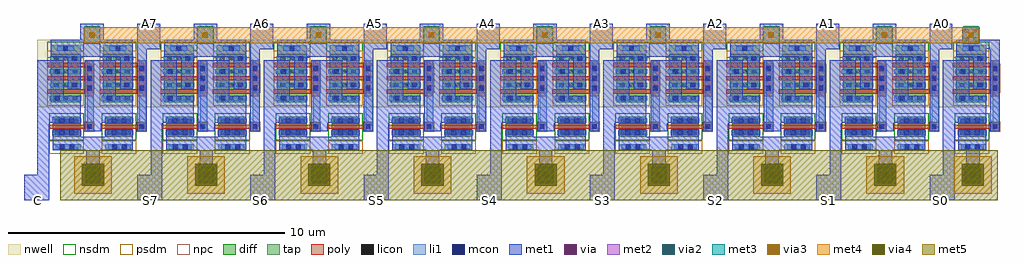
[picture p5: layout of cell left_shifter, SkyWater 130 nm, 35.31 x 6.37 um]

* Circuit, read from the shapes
.subckt left_shifter A0 A1 A2 A3 A4 A5 A6 A7 C S0 S1 S2 S3 S4 S5 S6 S7 VDD VSS
XM1 C buffer_7/inv_0/A VSS VSS sky130_fd_pr__nfet_01v8 w=1 l=0.15
XM2 buffer_7/inv_0/A A7 VSS VSS sky130_fd_pr__nfet_01v8 w=1 l=0.15
XM3 S7 buffer_6/inv_0/A VSS VSS sky130_fd_pr__nfet_01v8 w=1 l=0.15
XM4 buffer_6/inv_0/A A6 VSS VSS sky130_fd_pr__nfet_01v8 w=1 l=0.15
XM5 S6 buffer_5/inv_0/A VSS VSS sky130_fd_pr__nfet_01v8 w=1 l=0.15
XM6 buffer_5/inv_0/A A5 VSS VSS sky130_fd_pr__nfet_01v8 w=1 l=0.15
XM7 S5 buffer_4/inv_0/A VSS VSS sky130_fd_pr__nfet_01v8 w=1 l=0.15
XM8 buffer_4/inv_0/A A4 VSS VSS sky130_fd_pr__nfet_01v8 w=1 l=0.15
XM9 S4 buffer_3/inv_0/A VSS VSS sky130_fd_pr__nfet_01v8 w=1 l=0.15
XM10 buffer_3/inv_0/A A3 VSS VSS sky130_fd_pr__nfet_01v8 w=1 l=0.15
XM11 S3 buffer_8/inv_0/A VSS VSS sky130_fd_pr__nfet_01v8 w=1 l=0.15
XM12 buffer_8/inv_0/A A2 VSS VSS sky130_fd_pr__nfet_01v8 w=1 l=0.15
XM13 S2 buffer_1/inv_0/A VSS VSS sky130_fd_pr__nfet_01v8 w=1 l=0.15
XM14 buffer_1/inv_0/A A1 VSS VSS sky130_fd_pr__nfet_01v8 w=1 l=0.15
XM15 S1 buffer_2/inv_0/A VSS VSS sky130_fd_pr__nfet_01v8 w=1 l=0.15
XM16 buffer_2/inv_0/A A0 VSS VSS sky130_fd_pr__nfet_01v8 w=1 l=0.15
XM17 S0 VDD VSS VSS sky130_fd_pr__nfet_01v8 w=1 l=0.15
XM18 VDD buffer_7/inv_0/A C VDD sky130_fd_pr__pfet_01v8 w=1.07 l=0.15 m=3
XM19 VDD A7 buffer_7/inv_0/A VDD sky130_fd_pr__pfet_01v8 w=1.07 l=0.15 m=3
XM20 VDD buffer_6/inv_0/A S7 VDD sky130_fd_pr__pfet_01v8 w=1.07 l=0.15 m=3
XM21 VDD A6 buffer_6/inv_0/A VDD sky130_fd_pr__pfet_01v8 w=1.07 l=0.15 m=3
XM22 VDD buffer_5/inv_0/A S6 VDD sky130_fd_pr__pfet_01v8 w=1.07 l=0.15 m=3
XM23 VDD A5 buffer_5/inv_0/A VDD sky130_fd_pr__pfet_01v8 w=1.07 l=0.15 m=3
XM24 VDD buffer_4/inv_0/A S5 VDD sky130_fd_pr__pfet_01v8 w=1.07 l=0.15 m=3
XM25 VDD A4 buffer_4/inv_0/A VDD sky130_fd_pr__pfet_01v8 w=1.07 l=0.15 m=3
XM26 VDD buffer_3/inv_0/A S4 VDD sky130_fd_pr__pfet_01v8 w=1.07 l=0.15 m=3
XM27 VDD A3 buffer_3/inv_0/A VDD sky130_fd_pr__pfet_01v8 w=1.07 l=0.15 m=3
XM28 VDD buffer_8/inv_0/A S3 VDD sky130_fd_pr__pfet_01v8 w=1.07 l=0.15 m=3
XM29 VDD A2 buffer_8/inv_0/A VDD sky130_fd_pr__pfet_01v8 w=1.07 l=0.15 m=3
XM30 VDD buffer_1/inv_0/A S2 VDD sky130_fd_pr__pfet_01v8 w=1.07 l=0.15 m=3
XM31 VDD A1 buffer_1/inv_0/A VDD sky130_fd_pr__pfet_01v8 w=1.07 l=0.15 m=3
XM32 VDD buffer_2/inv_0/A S1 VDD sky130_fd_pr__pfet_01v8 w=1.07 l=0.15 m=3
XM33 VDD A0 buffer_2/inv_0/A VDD sky130_fd_pr__pfet_01v8 w=1.07 l=0.15 m=3
XM34 VDD VDD S0 VDD sky130_fd_pr__pfet_01v8 w=1.07 l=0.15 m=3
.ends

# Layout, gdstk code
from math import pi, radians
import gdstk
lib = gdstk.Library(unit=1e-6, precision=1e-09)
def R(c, l, rs):  # rectangles x0, y0, x1, y1
    for r in rs: c.add(gdstk.rectangle(r[:2], r[2:], *l))
def A(c, l, x, y, w, h, nx, ny, dx, dy):  # array of equal rectangles
    R(c, l, [(x+i*dx, y+j*dy, x+i*dx+w, y+j*dy+h) for i in range(nx) for j in range(ny)])
nwell = (64, 20)
diff = (65, 20)
tap = (65, 44)
poly = (66, 20)
licon = (66, 44)
li1 = (67, 20)
mcon = (67, 44)
met1 = (68, 20)
via = (68, 44)
met2 = (69, 20)
via2 = (69, 44)
met3 = (70, 20)
via3 = (70, 44)
met4 = (71, 20)
via4 = (71, 44)
met5 = (72, 20)
nsdm = (93, 44)
psdm = (94, 20)
npc = (95, 20)

sky130_fd_pr__nfet_01v8_ = lib.new_cell('sky130_fd_pr__nfet_01v8_6H9P4D')
R(sky130_fd_pr__nfet_01v8_, diff, [(-0.365,-0.5,0.365,0.5)])
R(sky130_fd_pr__nfet_01v8_, poly, [(-0.075,-0.63,0.075,0.63)])
A(sky130_fd_pr__nfet_01v8_, licon, -0.305, -0.425, 0.17, 0.17, 1, 3, 0, 0.34)
A(sky130_fd_pr__nfet_01v8_, licon, 0.135, -0.425, 0.17, 0.17, 1, 3, 0, 0.34)
R(sky130_fd_pr__nfet_01v8_, li1, [(-0.305,-0.52,-0.135,0.52), (0.135,-0.52,0.305,0.52)])
R(sky130_fd_pr__nfet_01v8_, mcon, [(-0.305,-0.265,-0.135,-0.095), (0.135,-0.265,0.305,-0.095), (-0.305,0.095,-0.135,0.265), (0.135,0.095,0.305,0.265)])
R(sky130_fd_pr__nfet_01v8_, met1, [(-0.335,-0.5,-0.105,0.5), (0.105,-0.5,0.335,0.5)])
R(sky130_fd_pr__nfet_01v8_, nsdm, [(-0.49,-0.625,0.49,0.625)])

efepmos_w107_l15_f3 = lib.new_cell('efepmos_W107-L15-F3')
R(efepmos_w107_l15_f3, nwell, [(-1.045,-1.035,1.045,0.845)])
R(efepmos_w107_l15_f3, diff, [(-0.865,-0.535,0.865,0.535)])
A(efepmos_w107_l15_f3, poly, -0.555, -0.69, 0.15, 1.355, 3, 1, 0.48, 0)
R(efepmos_w107_l15_f3, poly, [(-0.645,-1.02,0.645,-0.69)])
A(efepmos_w107_l15_f3, licon, -0.425, -0.94, 0.17, 0.17, 3, 1, 0.34, 0)
A(efepmos_w107_l15_f3, licon, -0.805, -0.425, 0.17, 0.17, 1, 3, 0, 0.34)
A(efepmos_w107_l15_f3, licon, 0.155, -0.425, 0.17, 0.17, 1, 3, 0, 0.34)
A(efepmos_w107_l15_f3, licon, -0.325, -0.415, 0.17, 0.17, 1, 3, 0, 0.34)
A(efepmos_w107_l15_f3, licon, 0.635, -0.415, 0.17, 0.17, 1, 3, 0, 0.34)
R(efepmos_w107_l15_f3, li1, [(-0.645,-0.94,0.645,-0.77), (-0.805,-0.555,-0.635,0.555), (-0.325,-0.555,-0.155,0.585), (0.155,-0.555,0.325,0.555), (0.635,-0.555,0.805,0.585)])
A(efepmos_w107_l15_f3, mcon, -0.445, -0.94, 0.17, 0.17, 3, 1, 0.36, 0)
R(efepmos_w107_l15_f3, mcon, [(-0.805,-0.395,-0.635,-0.225), (0.155,-0.395,0.325,-0.225), (-0.325,0.215,-0.155,0.385), (0.635,0.215,0.805,0.385)])
R(efepmos_w107_l15_f3, met1, [(-0.645,-1.02,0.645,-0.69), (-1.045,-0.535,0.405,-0.08), (-0.405,0.08,1.045,0.535)])
R(efepmos_w107_l15_f3, psdm, [(-0.99,-0.66,0.99,0.66)])
R(efepmos_w107_l15_f3, npc, [(-0.525,-1.04,0.525,-0.67)])

inv = lib.new_cell('inv')
R(inv, nwell, [(1.88,0,2.06,1.83), (1.63,1.44,1.715,1.45), (1.115,1.45,1.715,1.69), (0.505,1.735,0.52,1.83), (0,1.83,2.06,2.43)])
R(inv, tap, [(0.5,-1.555,1.5,-1.34), (0.5,1.91,1.57,2.24)])
R(inv, poly, [(0.015,-0.87,0.35,-0.78), (0.015,-0.78,0.375,-0.63), (0.015,-0.63,0.35,-0.54)])
R(inv, licon, [(0.73,-1.52,0.9,-1.35), (1.07,-1.52,1.24,-1.35), (0.095,-0.79,0.265,-0.62), (0.955,2.04,1.125,2.21)])
R(inv, li1, [(0.575,-1.52,1.395,-1.35), (0.015,-0.87,0.265,1.695), (0.735,2.04,1.35,2.21)])
R(inv, mcon, [(0.72,-1.52,0.89,-1.35), (1.08,-1.52,1.25,-1.35), (0.095,-0.79,0.265,-0.62), (0.955,2.04,1.125,2.21)])
R(inv, met1, [(0.5,-1.555,1.5,-0.805), (0,-0.875,0.345,0.4), (1.64,-0.875,2.06,-0.57), (0.5,-0.57,2.06,0.41), (0,0.4,0.265,1.69), (1.115,0.41,2.06,1.69), (0.505,1.735,0.52,1.83), (0.5,1.83,1.57,2.43)])
R(inv, nsdm, [(0.375,1.785,1.695,2.365)])
R(inv, psdm, [(0.375,-1.68,1.625,-1.215)])
R(inv, npc, [(-0.005,-0.89,0.365,-0.52)])
inv.add(gdstk.Reference(sky130_fd_pr__nfet_01v8_, (1,-0.705), rotation=3*pi/2))
inv.add(gdstk.Reference(efepmos_w107_l15_f3, (1.035,1.045), rotation=3*pi/2))
inv.add(gdstk.Label('A', (0,0.39), layer=68, texttype=16))
inv.add(gdstk.Label('VSS', (0.99,-1.555), layer=68, texttype=16))
inv.add(gdstk.Label('VDD', (1.05,2.43), layer=68, texttype=16))
inv.add(gdstk.Label('Y', (2.06,0.39), layer=68, texttype=16))

buffer = lib.new_cell('buffer')
R(buffer, nwell, [(2.035,1.25,2.095,3.16), (-0.025,1.64,-0.015,1.67), (3.925,1.725,3.93,1.735), (1.545,3.16,2.595,3.68)])
R(buffer, met1, [(1.675,-1.475,2.16,-0.305), (1.475,-0.305,2.595,0.18), (2.035,0.375,2.095,2.94), (-0.025,1.64,-0.015,1.67), (3.925,1.725,3.93,1.735), (1.545,3.08,2.37,3.16), (1.545,3.16,2.595,3.455), (1.525,3.455,2.595,3.68), (1.525,3.68,2.375,4.26)])
R(buffer, via, [(1.84,-1.28,1.99,-1.13), (1.88,3.785,2.03,3.935)])
R(buffer, met2, [(1.63,-1.445,2.205,-0.96), (1.65,3.6,2.26,4.12)])
R(buffer, via2, [(1.815,-1.305,2.015,-1.105), (1.855,3.76,2.055,3.96)])
R(buffer, met3, [(1.65,-1.5,2.185,-0.905), (1.67,3.545,2.24,4.175)])
R(buffer, via3, [(1.815,-1.305,2.015,-1.105), (1.855,3.76,2.055,3.96)])
R(buffer, met4, [(1.24,-1.88,2.6,-0.52), (1.665,3.57,2.245,4.15)])
R(buffer, via4, [(1.52,-1.6,2.32,-0.8)])
R(buffer, met5, [(0.875,-2.11,3.095,-0.305)])
buffer.add(gdstk.Reference(inv, (1.87,1.25)))
buffer.add(gdstk.Reference(inv, (-0.025,1.25)))
buffer.add(gdstk.Label('A', (-0.025,1.655), layer=68, texttype=16))
buffer.add(gdstk.Label('VSS', (2.165,-0.305), layer=68, texttype=16))
buffer.add(gdstk.Label('VDD', (2.23,3.68), layer=68, texttype=16))
buffer.add(gdstk.Label('Y', (3.93,1.73), layer=68, texttype=16))

left_shifter = lib.new_cell('left_shifter')
R(left_shifter, nwell, [(11.775,2.81,37.64,4.5), (40.44,2.81,42.64,4.5), (11.775,4.5,37.82,5.24), (40.095,4.5,42.64,5.24)])
A(left_shifter, li1, 15.605, 4.5, 0.25, 0.005, 7, 1, 4.095, 0)
A(left_shifter, met1, 7.335, -0.55, 0.905, 0.92, 9, 1, 4.095, 0)
A(left_shifter, met1, 7.82, 0.37, 0.42, 1.565, 8, 1, 4.095, 0)
A(left_shifter, met1, 11.43, 4.5, 0.345, 0.4, 8, 1, 4.095, 0)
A(left_shifter, met1, 11.43, 4.9, 0.83, 0.92, 8, 1, 4.095, 0)
R(left_shifter, met1, [(41.42,0.085,41.905,1.255), (40.58,0.37,41,2.355), (16.355,1.935,16.43,2.24), (42.33,4.455,42.64,4.495), (42.295,4.495,42.64,4.925), (41.825,4.925,42.64,5.13), (41.275,5.13,42.64,5.24), (41.275,5.24,41.915,5.71)])
R(left_shifter, via, [(41.585,0.28,41.735,0.43), (41.36,5.185,41.51,5.335), (41.68,5.185,41.83,5.335), (41.36,5.505,41.51,5.655), (41.68,5.505,41.83,5.655)])
R(left_shifter, met2, [(41.375,0.115,41.95,0.6), (41.275,5.13,41.915,5.71)])
R(left_shifter, via2, [(41.56,0.255,41.76,0.455), (41.495,5.32,41.695,5.52)])
R(left_shifter, met3, [(41.395,0.06,41.93,0.655), (41.31,5.105,41.88,5.13), (41.305,5.13,41.885,5.71), (41.31,5.71,41.88,5.735)])
R(left_shifter, via3, [(41.56,0.255,41.76,0.455), (41.495,5.32,41.695,5.52)])
R(left_shifter, met4, [(40.98,-0.32,42.34,1.04), (9.505,5.13,41.885,5.71)])
R(left_shifter, via4, [(41.26,-0.04,42.06,0.76)])
R(left_shifter, met5, [(8.655,-0.55,42.555,1.255)])
left_shifter.add(gdstk.Reference(inv, (42.64,2.81), rotation=pi, x_reflection=True))
left_shifter.add(gdstk.Reference(buffer, (36.32,1.56), rotation=pi, x_reflection=True))
left_shifter.add(gdstk.Reference(buffer, (40.415,1.56), rotation=pi, x_reflection=True))
left_shifter.add(gdstk.Reference(buffer, (28.13,1.56), rotation=pi, x_reflection=True))
left_shifter.add(gdstk.Reference(buffer, (24.035,1.56), rotation=pi, x_reflection=True))
left_shifter.add(gdstk.Reference(buffer, (19.94,1.56), rotation=pi, x_reflection=True))
left_shifter.add(gdstk.Reference(buffer, (15.845,1.56), rotation=pi, x_reflection=True))
left_shifter.add(gdstk.Reference(buffer, (11.75,1.56), rotation=pi, x_reflection=True))
left_shifter.add(gdstk.Reference(buffer, (32.225,1.56), rotation=pi, x_reflection=True))
left_shifter.add(gdstk.Label('A0', (40.52,5.82), layer=68, texttype=16))
left_shifter.add(gdstk.Label('A1', (36.41,5.82), layer=68, texttype=16))
left_shifter.add(gdstk.Label('A2', (32.34,5.82), layer=68, texttype=16))
left_shifter.add(gdstk.Label('A3', (28.23,5.82), layer=68, texttype=16))
left_shifter.add(gdstk.Label('A4', (24.11,5.82), layer=68, texttype=16))
left_shifter.add(gdstk.Label('A5', (20.015,5.82), layer=68, texttype=16))
left_shifter.add(gdstk.Label('A6', (15.935,5.82), layer=68, texttype=16))
left_shifter.add(gdstk.Label('A7', (11.865,5.82), layer=68, texttype=16))
left_shifter.add(gdstk.Label('S0', (40.5,-0.55), layer=68, texttype=16))
left_shifter.add(gdstk.Label('S1', (36.445,-0.55), layer=68, texttype=16))
left_shifter.add(gdstk.Label('S2', (32.36,-0.55), layer=68, texttype=16))
left_shifter.add(gdstk.Label('S3', (28.265,-0.55), layer=68, texttype=16))
left_shifter.add(gdstk.Label('S4', (24.18,-0.55), layer=68, texttype=16))
left_shifter.add(gdstk.Label('S5', (20.085,-0.55), layer=68, texttype=16))
left_shifter.add(gdstk.Label('S6', (15.9,-0.55), layer=68, texttype=16))
left_shifter.add(gdstk.Label('S7', (11.925,-0.55), layer=68, texttype=16))
left_shifter.add(gdstk.Label('C', (7.83,-0.55), layer=68, texttype=16))
left_shifter.add(gdstk.Label('VDD', (24.11,5.71), layer=71, texttype=16))
left_shifter.add(gdstk.Label('VSS', (24.095,-0.55), layer=72, texttype=16))

lib.write_gds('left_shifter.gds')
